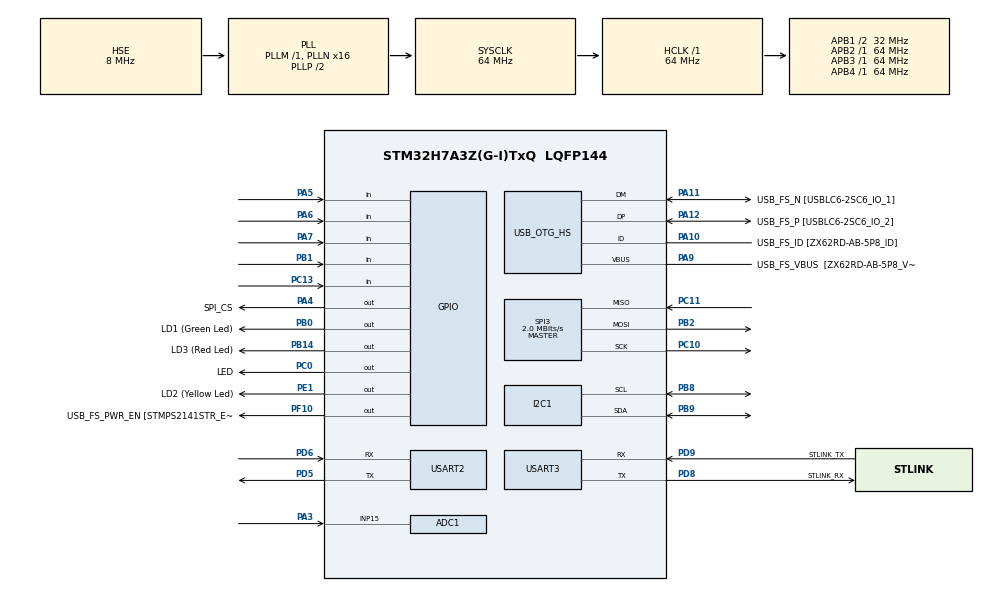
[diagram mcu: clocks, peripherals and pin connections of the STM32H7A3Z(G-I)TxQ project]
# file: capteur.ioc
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ADC1.Channel-4\#ChannelRegularConversion=ADC_CHANNEL_15
ADC1.NbrOfConversionFlag=1
ADC1.OffsetNumber-4\#ChannelRegularConversion=ADC_OFFSET_NONE
ADC1.OffsetSignedSaturation-4\#ChannelRegularConversion=DISABLE
ADC1.Rank-4\#ChannelRegularConversion=1
ADC1.SamplingTime-4\#ChannelRegularConversion=ADC_SAMPLETIME_1CYCLE_5
ADC1.master=1
I2C1.Timing=0x00707CBB
Mcu.Family=STM32H7
Mcu.Name=STM32H7A3Z(G-I)TxQ
Mcu.Package=LQFP144
NVIC.ADC_IRQn=true\:0\:0\:false\:false\:true\:true\:true\:true
NVIC.PriorityGroup=NVIC_PRIORITYGROUP_4
NVIC.USART2_IRQn=true\:0\:0\:false\:false\:true\:true\:true\:true
NVIC.USART3_IRQn=true\:0\:0\:false\:false\:true\:true\:true\:true
PA10.GPIO_Label=USB_FS_ID [ZX62RD-AB-5P8_ID]
PA10.Mode=OTG/Dual-Role-Device-FS
PA10.Signal=USB_OTG_HS_ID
PA11.GPIO_Label=USB_FS_N [USBLC6-2SC6_IO_1]
PA11.Mode=OTG/Dual-Role-Device-FS
PA11.Signal=USB_OTG_HS_DM
PA12.GPIO_Label=USB_FS_P [USBLC6-2SC6_IO_2]
PA12.Mode=OTG/Dual-Role-Device-FS
PA12.Signal=USB_OTG_HS_DP
PA3.Mode=IN15-Single-Ended
PA3.Signal=ADC1_INP15
PA4.GPIO_Label=SPI_CS
PA4.PinState=GPIO_PIN_SET
PA4.Signal=GPIO_Output
PA5.Signal=GPIO_Input
PA6.Signal=GPIO_Input
PA7.Signal=GPIO_Input
PA9.GPIO_Label=USB_FS_VBUS  [ZX62RD-AB-5P8_VBUS]
PA9.Mode=Activate_VBUS_FS
PA9.Signal=USB_OTG_HS_VBUS
PB0.GPIO_Label=LD1 (Green Led)
PB0.Signal=GPIO_Output
PB1.Signal=GPIO_Input
PB14.GPIO_Label=LD3 (Red Led)
PB14.Signal=GPIO_Output
PB2.Mode=Full_Duplex_Master
PB2.Signal=SPI3_MOSI
PB3.Signal=DEBUG_JTDO-SWO
PB8.Mode=I2C
PB8.Signal=I2C1_SCL
PB9.Mode=I2C
PB9.Signal=I2C1_SDA
PC0.GPIO_Label=LED
PC0.Signal=GPIO_Output
PC10.Mode=Full_Duplex_Master
PC10.Signal=SPI3_SCK
PC11.Mode=Full_Duplex_Master
PC11.Signal=SPI3_MISO
PC13.Signal=GPIO_Input
PC14-OSC32_IN.GPIO_Label=OSC32_IN
PC14-OSC32_IN.Mode=LSE-External-Oscillator
PC14-OSC32_IN.Signal=RCC_OSC32_IN
PC15-OSC32_OUT.GPIO_Label=OSC32_OUT
PC15-OSC32_OUT.Mode=LSE-External-Oscillator
PC15-OSC32_OUT.Signal=RCC_OSC32_OUT
PD5.Mode=Asynchronous
PD5.Signal=USART2_TX
PD6.Mode=Asynchronous
PD6.Signal=USART2_RX
PD8.GPIO_Label=STLINK_RX
PD8.Mode=Asynchronous
PD8.Signal=USART3_TX
PD9.GPIO_Label=STLINK_TX
PD9.Mode=Asynchronous
PD9.Signal=USART3_RX
PE1.GPIO_Label=LD2 (Yellow Led)
PE1.Signal=GPIO_Output
PF10.GPIO_Label=USB_FS_PWR_EN [STMPS2141STR_EN]
PF10.Signal=GPIO_Output
PH0-OSC_IN.GPIO_Label=PH0-MCU
PH0-OSC_IN.Mode=HSE-External-Clock-Source
PH0-OSC_IN.Signal=RCC_OSC_IN
PH1-OSC_OUT.GPIO_Label=PH1-MCU
PH1-OSC_OUT.Signal=RCC_OSC_OUT
ProjectManager.HeapSize=0x200
ProjectManager.StackSize=0x400
ProjectManager.TargetToolchain=STM32CubeIDE
RCC.ADCFreq_Value=42666666.666666664
RCC.APB1Freq_Value=32000000
RCC.APB2Freq_Value=64000000
RCC.APB3Freq_Value=64000000
RCC.APB4Freq_Value=64000000
RCC.CDPPRE1=RCC_APB1_DIV2
RCC.CortexFreq_Value=64000000
RCC.DIVM1=1
RCC.DIVM2=1
RCC.DIVM3=1
RCC.DIVN1=16
RCC.DIVN2=16
RCC.DIVN3=24
RCC.DIVP2=3
RCC.DIVQ1=4
RCC.HCLKFreq_Value=64000000
RCC.HSE_VALUE=8000000
RCC.PLL2FRACN=0
RCC.PLLFRACN=0
RCC.PLLSourceVirtual=RCC_PLLSOURCE_HSE
RCC.SYSCLKFreq_VALUE=64000000
RCC.SYSCLKSource=RCC_SYSCLKSOURCE_PLLCLK
RCC.SupplySource=PWR_DIRECT_SMPS_SUPPLY
RCC.USBCLockSelection=RCC_USBCLKSOURCE_HSI48
RCC.USBFreq_Value=48000000
SPI3.BaudRatePrescaler=SPI_BAUDRATEPRESCALER_16
SPI3.CalculateBaudRate=2.0 MBits/s
SPI3.DataSize=SPI_DATASIZE_8BIT
SPI3.Direction=SPI_DIRECTION_2LINES
SPI3.Mode=SPI_MODE_MASTER
SPI3.VirtualType=VM_MASTER
USART2.VirtualMode-Asynchronous=VM_ASYNC
USART3.VirtualMode-Asynchronous=VM_ASYNC
VP_MEMORYMAP_VS_MEMORYMAP.Mode=CurAppReg
board=NUCLEO-H7A3ZI-Q

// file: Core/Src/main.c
/* USER CODE BEGIN Header */
/**
  ******************************************************************************
  * @file           : main.c
  * @brief          : Main program body
  ******************************************************************************
  * @attention
  *
  * Copyright (c) 2025 STMicroelectronics.
  * All rights reserved.
  *
  * This software is licensed under terms that can be found in the LICENSE file
  * in the root directory of this software component.
  * If no LICENSE file comes with this software, it is provided AS-IS.
  *
  ******************************************************************************
  */
/* USER CODE END Header */
#include "main.h"

/* USER CODE BEGIN Includes */
#include <stdio.h>
#include "string.h"
#include "stm32h7xx_hal_i2c.h"
#include <stdbool.h>
#include <CAN_SPI.h>
#include "MCP2515.h"

#include "stm32h7xx_hal.h"

/* USER CODE END Includes */

ADC_HandleTypeDef hadc1;

I2C_HandleTypeDef hi2c1;

SPI_HandleTypeDef hspi3;

UART_HandleTypeDef huart2;
UART_HandleTypeDef huart3;

/* USER CODE BEGIN PV */
#define VALEUR_SECHE 60000
#define VALEUR_HUMIDE 20000
char test_msg[] = "Test UART\r\n";
char buffer[64];
char b[32];
uint8_t rxMessage;

uCAN_MSG txMessage;
/* USER CODE END PV */

void SystemClock_Config(void);
static void MX_GPIO_Init(void);
static void MX_USB_OTG_HS_USB_Init(void);
static void MX_USART3_UART_Init(void);
static void MX_USART2_UART_Init(void);
static void MX_ADC1_Init(void);
static void MX_SPI3_Init(void);
static void MX_I2C1_Init(void);

/* USER CODE BEGIN 0 */
// Envoyer seulement quand les valeurs changent
void sendSensorData(float value1, float value2, int value3, int value4) {
    static float lastValue1 = 0, lastValue2 = 0;
    static int lastValue3 = 0, lastValue4 = 0;

    // Vérifie si la différence de temperature ou humidité > 1
    if(fabs(value1 - lastValue1) > 1.0f ||
       fabs(value2 - lastValue2) > 1.0f ||
       value3 != lastValue3 ||
       value4 != lastValue4) {

        int len = snprintf(buffer, sizeof(buffer), "%.2f,%.2f,%d,%d\r\n", value1, value2, value3, value4);
        HAL_UART_Transmit(&huart2, (uint8_t*)buffer, len, HAL_MAX_DELAY);

        lastValue1 = value1;
        lastValue2 = value2;
        lastValue3 = value3;
        lastValue4 = value4;
    }
}

uint8_t lireHumiditeSol(void) {
  // Lire la valeur brute de l'ADC
  HAL_ADC_Start(&hadc1);
  HAL_ADC_PollForConversion(&hadc1, HAL_MAX_DELAY);
  uint32_t valeur_brute = HAL_ADC_GetValue(&hadc1);
  HAL_ADC_Stop(&hadc1);

  // Calibration et conversion en pourcentage d'humidité
  uint8_t humidite_pourcentage;
  if (valeur_brute >= VALEUR_SECHE) {
    humidite_pourcentage = 0;  // 0% d'humidité (très sec)
  } else if (valeur_brute <= VALEUR_HUMIDE) {
    humidite_pourcentage = 100;  // 100% d'humidité (très humide)
  } else {
    // Conversion linéaire entre les deux extrêmes
    humidite_pourcentage = 100 - ((valeur_brute - VALEUR_HUMIDE) * 100) / (VALEUR_SECHE - VALEUR_HUMIDE);
  }

  return humidite_pourcentage;

}
// Rediriger printf vers l'UART (ici huart3)
int _write(int file, char *ptr, int len)
{

  HAL_UART_Transmit(&huart3, (uint8_t*)ptr, len, HAL_MAX_DELAY);
  return len;
}

typedef struct {
    float temperature;
    float humidity;
    bool success;
} AM2320_Data;

AM2320_Data read_AM2320(void)
{
    AM2320_Data data = {0.0f, 0.0f, false};
    uint8_t wake = 0x00;
    uint8_t cmd[3] = {0x03, 0x00, 0x04};
    uint8_t response[8];

    // Réveil du capteur (écriture 0 byte pour réveil, délai nécessaire)
    HAL_I2C_Master_Transmit(&hi2c1, 0x5C << 1, &wake, 0, 5);
    HAL_Delay(2);

    // Envoi de la commande de lecture (fonction code 0x03, adresse 0x00, lire 4 registres)
    if (HAL_I2C_Master_Transmit(&hi2c1, 0x5C << 1, cmd, 3, 100) != HAL_OK)
        return data;

    HAL_Delay(2);

    // Lecture de la réponse : 8 octets attendus
    if (HAL_I2C_Master_Receive(&hi2c1, 0x5C << 1, response, 8, 100) != HAL_OK)
        return data;

    // Vérification simple (peut être renforcée avec CRC si nécessaire)
    if (response[0] != 0x03 || response[1] != 0x04)
        return data;

    // Extraction des données
    uint16_t hum = (response[2] << 8) | response[3];
    uint16_t temp_raw = (response[4] << 8) | response[5];

    data.humidity = hum / 10.0f;
    data.temperature = (temp_raw & 0x8000) ?
                       -((temp_raw & 0x7FFF) / 10.0f) :
                       temp_raw / 10.0f;

    data.success = true;
    return data;
}

/* USER CODE END 0 */

int main(void)
{

  /* MCU Configuration--------------------------------------------------------*/

  /* Reset of all peripherals, Initializes the Flash interface and the Systick. */
  HAL_Init();

  /* Configure the system clock */
  SystemClock_Config();

  /* Initialize all configured peripherals */
  MX_GPIO_Init();
  MX_USB_OTG_HS_USB_Init();
  MX_USART3_UART_Init();
  MX_USART2_UART_Init();
  MX_ADC1_Init();
  MX_SPI3_Init();
  MX_I2C1_Init();
  /* USER CODE BEGIN 2 */
  HAL_GPIO_WritePin(LED_GPIO_Port, LED_Pin, GPIO_PIN_RESET);
  printf("Test de communication avec MCP2515...\r\n");

  // Lire une valeur du MCP2515
  uint8_t test_value = MCP2515_ReadByte(MCP2515_CANSTAT);
  printf("Valeur lue de CANSTAT: 0x%02X\r\n", test_value);

  // Écrire puis lire pour vérifier si la communication fonctionne
  printf("Écriture de test dans un registre...\r\n");
  MCP2515_WriteByte(0x03, 0x55);  // Écrire 0x55 dans le registre à l'adresse 0x03
  test_value = MCP2515_ReadByte(0x03);  // Lire à nouveau ce registre
  printf("Valeur lue après écriture: 0x%02X\r\n", test_value);

  // Maintenant essayer d'initialiser le CAN
  printf("Tentative d'initialisation CAN...\r\n");
  int ret;
  ret = CANSPI_Initialize();
  if(ret < 0){

	  printf("non CAN %d\r\n", ret);
	  while (1){};
  }
	  else{
		  printf(" CAN\r\n");
	  }

  uint8_t toggle = 0;
  /* USER CODE END 2 */

  /* Infinite loop */
  while (1)
  {

    /* USER CODE BEGIN 3 */

	uint32_t valeur_brute = HAL_ADC_GetValue(&hadc1);
	printf("valeur brute de humidite de sol %lu\r\n", valeur_brute);
	uint8_t humidite = lireHumiditeSol();
	printf("humidite de sol %d\r\n", humidite);
	  HAL_Delay(5000);
	  bool est_obscur = (HAL_GPIO_ReadPin(GPIOA, GPIO_PIN_6) == GPIO_PIN_SET);

	  if (est_obscur) {
	      printf("obscur\r\n");
	  } else {
	      printf("lumiere\r\n");
	  }

	  HAL_Delay(5000);
	  AM2320_Data result = read_AM2320();
	  if (result.success) {
	      printf("Temp: %.2f°C, Humidité: %.2f%%\r\n", result.temperature, result.humidity);
	  } else {
	      printf("Erreur de lecture du capteur AM2320\r\n");
	  }

	  int temp_arrondi = round(result.temperature);
	  int temp_humidity = round(result.humidity);
	  sendSensorData(result.temperature, result.humidity,humidite,est_obscur);

	  int16_t temp10 = (int16_t)(result.temperature * 10);
	  int16_t hum10  = (int16_t)(result.humidity * 10);

	  txMessage.frame.idType = 0;   // ID standard (11 bits)
	  txMessage.frame.id = 0x36;     // ID du message CAN (ne change pas)
	  txMessage.frame.dlc = 6;       // Longueur des données (6 octets ici)

	  txMessage.frame.data0 = (uint8_t)(temp10 >> 8);  // Partie haute de la température
	  txMessage.frame.data1 = (uint8_t)(temp10 & 0xFF); // Partie basse de la température
	  txMessage.frame.data2 = (uint8_t)(hum10 >> 8);   // Partie haute de l'humidité
	  txMessage.frame.data3 = (uint8_t)(hum10 & 0xFF);  // Partie basse de l'humidité
	  txMessage.frame.data4 = humidite;                 // Humidité du sol (1 octet)
	  txMessage.frame.data5 = est_obscur ? 1 : 0;       // État du capteur de lumière (1 ou 0)

	  // Transmission CAN
	  if (CANSPI_Transmit(&txMessage)) {
	      printf("Message CAN transmis\n");
	  } else {
	      printf("Erreur de transmission\n");
	  }
	  HAL_Delay(1000);
  }
  /* USER CODE END 3 */
}

void SystemClock_Config(void)
{
  RCC_OscInitTypeDef RCC_OscInitStruct = {0};
  RCC_ClkInitTypeDef RCC_ClkInitStruct = {0};

  /*AXI clock gating */
  RCC->CKGAENR = 0xFFFFFFFF;

  /** Supply configuration update enable
  */
  HAL_PWREx_ConfigSupply(PWR_DIRECT_SMPS_SUPPLY);

  /** Configure the main internal regulator output voltage
  */
  __HAL_PWR_VOLTAGESCALING_CONFIG(PWR_REGULATOR_VOLTAGE_SCALE3);

  while(!__HAL_PWR_GET_FLAG(PWR_FLAG_VOSRDY)) {}

  /** Initializes the RCC Oscillators according to the specified parameters
  * in the RCC_OscInitTypeDef structure.
  */
  RCC_OscInitStruct.OscillatorType = RCC_OSCILLATORTYPE_HSI48|RCC_OSCILLATORTYPE_HSE;
  RCC_OscInitStruct.HSEState = RCC_HSE_BYPASS;
  RCC_OscInitStruct.HSI48State = RCC_HSI48_ON;
  RCC_OscInitStruct.PLL.PLLState = RCC_PLL_ON;
  RCC_OscInitStruct.PLL.PLLSource = RCC_PLLSOURCE_HSE;
  RCC_OscInitStruct.PLL.PLLM = 1;
  RCC_OscInitStruct.PLL.PLLN = 16;
  RCC_OscInitStruct.PLL.PLLP = 2;
  RCC_OscInitStruct.PLL.PLLQ = 4;
  RCC_OscInitStruct.PLL.PLLR = 2;
  RCC_OscInitStruct.PLL.PLLRGE = RCC_PLL1VCIRANGE_3;
  RCC_OscInitStruct.PLL.PLLVCOSEL = RCC_PLL1VCOWIDE;
  RCC_OscInitStruct.PLL.PLLFRACN = 0;
  if (HAL_RCC_OscConfig(&RCC_OscInitStruct) != HAL_OK)
  {
    Error_Handler();
  }

  /** Initializes the CPU, AHB and APB buses clocks
  */
  RCC_ClkInitStruct.ClockType = RCC_CLOCKTYPE_HCLK|RCC_CLOCKTYPE_SYSCLK
                              |RCC_CLOCKTYPE_PCLK1|RCC_CLOCKTYPE_PCLK2
                              |RCC_CLOCKTYPE_D3PCLK1|RCC_CLOCKTYPE_D1PCLK1;
  RCC_ClkInitStruct.SYSCLKSource = RCC_SYSCLKSOURCE_PLLCLK;
  RCC_ClkInitStruct.SYSCLKDivider = RCC_SYSCLK_DIV1;
  RCC_ClkInitStruct.AHBCLKDivider = RCC_HCLK_DIV1;
  RCC_ClkInitStruct.APB3CLKDivider = RCC_APB3_DIV1;
  RCC_ClkInitStruct.APB1CLKDivider = RCC_APB1_DIV2;
  RCC_ClkInitStruct.APB2CLKDivider = RCC_APB2_DIV1;
  RCC_ClkInitStruct.APB4CLKDivider = RCC_APB4_DIV1;

  if (HAL_RCC_ClockConfig(&RCC_ClkInitStruct, FLASH_LATENCY_2) != HAL_OK)
  {
    Error_Handler();
  }
}

static void MX_ADC1_Init(void)
{

  ADC_MultiModeTypeDef multimode = {0};
  ADC_ChannelConfTypeDef sConfig = {0};

  /** Common config
  */
  hadc1.Instance = ADC1;
  hadc1.Init.ClockPrescaler = ADC_CLOCK_ASYNC_DIV1;
  hadc1.Init.Resolution = ADC_RESOLUTION_16B;
  hadc1.Init.ScanConvMode = ADC_SCAN_DISABLE;
  hadc1.Init.EOCSelection = ADC_EOC_SINGLE_CONV;
  hadc1.Init.LowPowerAutoWait = DISABLE;
  hadc1.Init.ContinuousConvMode = DISABLE;
  hadc1.Init.NbrOfConversion = 1;
  hadc1.Init.DiscontinuousConvMode = DISABLE;
  hadc1.Init.ExternalTrigConv = ADC_SOFTWARE_START;
  hadc1.Init.ExternalTrigConvEdge = ADC_EXTERNALTRIGCONVEDGE_NONE;
  hadc1.Init.ConversionDataManagement = ADC_CONVERSIONDATA_DR;
  hadc1.Init.Overrun = ADC_OVR_DATA_PRESERVED;
  hadc1.Init.LeftBitShift = ADC_LEFTBITSHIFT_NONE;
  hadc1.Init.OversamplingMode = DISABLE;
  if (HAL_ADC_Init(&hadc1) != HAL_OK)
  {
    Error_Handler();
  }

  /** Configure the ADC multi-mode
  */
  multimode.Mode = ADC_MODE_INDEPENDENT;
  if (HAL_ADCEx_MultiModeConfigChannel(&hadc1, &multimode) != HAL_OK)
  {
    Error_Handler();
  }

  /** Configure Regular Channel
  */
  sConfig.Channel = ADC_CHANNEL_15;
  sConfig.Rank = ADC_REGULAR_RANK_1;
  sConfig.SamplingTime = ADC_SAMPLETIME_1CYCLE_5;
  sConfig.SingleDiff = ADC_SINGLE_ENDED;
  sConfig.OffsetNumber = ADC_OFFSET_NONE;
  sConfig.Offset = 0;
  sConfig.OffsetSignedSaturation = DISABLE;
  if (HAL_ADC_ConfigChannel(&hadc1, &sConfig) != HAL_OK)
  {
    Error_Handler();
  }

}

static void MX_I2C1_Init(void)
{

  hi2c1.Instance = I2C1;
  hi2c1.Init.Timing = 0x00707CBB;
  hi2c1.Init.OwnAddress1 = 0;
  hi2c1.Init.AddressingMode = I2C_ADDRESSINGMODE_7BIT;
  hi2c1.Init.DualAddressMode = I2C_DUALADDRESS_DISABLE;
  hi2c1.Init.OwnAddress2 = 0;
  hi2c1.Init.OwnAddress2Masks = I2C_OA2_NOMASK;
  hi2c1.Init.GeneralCallMode = I2C_GENERALCALL_DISABLE;
  hi2c1.Init.NoStretchMode = I2C_NOSTRETCH_DISABLE;
  if (HAL_I2C_Init(&hi2c1) != HAL_OK)
  {
    Error_Handler();
  }

  /** Configure Analogue filter
  */
  if (HAL_I2CEx_ConfigAnalogFilter(&hi2c1, I2C_ANALOGFILTER_ENABLE) != HAL_OK)
  {
    Error_Handler();
  }

  /** Configure Digital filter
  */
  if (HAL_I2CEx_ConfigDigitalFilter(&hi2c1, 0) != HAL_OK)
  {
    Error_Handler();
  }

}

static void MX_SPI3_Init(void)
{

  /* SPI3 parameter configuration*/
  hspi3.Instance = SPI3;
  hspi3.Init.Mode = SPI_MODE_MASTER;
  hspi3.Init.Direction = SPI_DIRECTION_2LINES;
  hspi3.Init.DataSize = SPI_DATASIZE_8BIT;
  hspi3.Init.CLKPolarity = SPI_POLARITY_LOW;
  hspi3.Init.CLKPhase = SPI_PHASE_1EDGE;
  hspi3.Init.NSS = SPI_NSS_SOFT;
  hspi3.Init.BaudRatePrescaler = SPI_BAUDRATEPRESCALER_16;
  hspi3.Init.FirstBit = SPI_FIRSTBIT_MSB;
  hspi3.Init.TIMode = SPI_TIMODE_DISABLE;
  hspi3.Init.CRCCalculation = SPI_CRCCALCULATION_DISABLE;
  hspi3.Init.CRCPolynomial = 0x0;
  hspi3.Init.NSSPMode = SPI_NSS_PULSE_ENABLE;
  hspi3.Init.NSSPolarity = SPI_NSS_POLARITY_LOW;
  hspi3.Init.FifoThreshold = SPI_FIFO_THRESHOLD_01DATA;
  hspi3.Init.TxCRCInitializationPattern = SPI_CRC_INITIALIZATION_ALL_ZERO_PATTERN;
  hspi3.Init.RxCRCInitializationPattern = SPI_CRC_INITIALIZATION_ALL_ZERO_PATTERN;
  hspi3.Init.MasterSSIdleness = SPI_MASTER_SS_IDLENESS_00CYCLE;
  hspi3.Init.MasterInterDataIdleness = SPI_MASTER_INTERDATA_IDLENESS_00CYCLE;
  hspi3.Init.MasterReceiverAutoSusp = SPI_MASTER_RX_AUTOSUSP_DISABLE;
  hspi3.Init.MasterKeepIOState = SPI_MASTER_KEEP_IO_STATE_DISABLE;
  hspi3.Init.IOSwap = SPI_IO_SWAP_DISABLE;
  if (HAL_SPI_Init(&hspi3) != HAL_OK)
  {
    Error_Handler();
  }

}

static void MX_USART2_UART_Init(void)
{

  huart2.Instance = USART2;
  huart2.Init.BaudRate = 115200;
  huart2.Init.WordLength = UART_WORDLENGTH_8B;
  huart2.Init.StopBits = UART_STOPBITS_1;
  huart2.Init.Parity = UART_PARITY_NONE;
  huart2.Init.Mode = UART_MODE_TX_RX;
  huart2.Init.HwFlowCtl = UART_HWCONTROL_NONE;
  huart2.Init.OverSampling = UART_OVERSAMPLING_16;
  huart2.Init.OneBitSampling = UART_ONE_BIT_SAMPLE_DISABLE;
  huart2.Init.ClockPrescaler = UART_PRESCALER_DIV1;
  huart2.AdvancedInit.AdvFeatureInit = UART_ADVFEATURE_NO_INIT;
  if (HAL_UART_Init(&huart2) != HAL_OK)
  {
    Error_Handler();
  }
  if (HAL_UARTEx_SetTxFifoThreshold(&huart2, UART_TXFIFO_THRESHOLD_1_8) != HAL_OK)
  {
    Error_Handler();
  }
  if (HAL_UARTEx_SetRxFifoThreshold(&huart2, UART_RXFIFO_THRESHOLD_1_8) != HAL_OK)
  {
    Error_Handler();
  }
  if (HAL_UARTEx_DisableFifoMode(&huart2) != HAL_OK)
  {
    Error_Handler();
  }

}

static void MX_USART3_UART_Init(void)
{

  huart3.Instance = USART3;
  huart3.Init.BaudRate = 115200;
  huart3.Init.WordLength = UART_WORDLENGTH_8B;
  huart3.Init.StopBits = UART_STOPBITS_1;
  huart3.Init.Parity = UART_PARITY_NONE;
  huart3.Init.Mode = UART_MODE_TX_RX;
  huart3.Init.HwFlowCtl = UART_HWCONTROL_NONE;
  huart3.Init.OverSampling = UART_OVERSAMPLING_16;
  huart3.Init.OneBitSampling = UART_ONE_BIT_SAMPLE_DISABLE;
  huart3.Init.ClockPrescaler = UART_PRESCALER_DIV1;
  huart3.AdvancedInit.AdvFeatureInit = UART_ADVFEATURE_NO_INIT;
  if (HAL_UART_Init(&huart3) != HAL_OK)
  {
    Error_Handler();
  }
  if (HAL_UARTEx_SetTxFifoThreshold(&huart3, UART_TXFIFO_THRESHOLD_1_8) != HAL_OK)
  {
    Error_Handler();
  }
  if (HAL_UARTEx_SetRxFifoThreshold(&huart3, UART_RXFIFO_THRESHOLD_1_8) != HAL_OK)
  {
    Error_Handler();
  }
  if (HAL_UARTEx_DisableFifoMode(&huart3) != HAL_OK)
  {
    Error_Handler();
  }

}

static void MX_USB_OTG_HS_USB_Init(void)
{

}

static void MX_GPIO_Init(void)
{
  GPIO_InitTypeDef GPIO_InitStruct = {0};

  /* GPIO Ports Clock Enable */
  __HAL_RCC_GPIOC_CLK_ENABLE();
  __HAL_RCC_GPIOF_CLK_ENABLE();
  __HAL_RCC_GPIOH_CLK_ENABLE();
  __HAL_RCC_GPIOA_CLK_ENABLE();
  __HAL_RCC_GPIOB_CLK_ENABLE();
  __HAL_RCC_GPIOD_CLK_ENABLE();
  __HAL_RCC_GPIOE_CLK_ENABLE();

  /*Configure GPIO pin Output Level */
  HAL_GPIO_WritePin(USB_FS_PWR_EN_GPIO_Port, USB_FS_PWR_EN_Pin, GPIO_PIN_RESET);

  /*Configure GPIO pin Output Level */
  HAL_GPIO_WritePin(LED_GPIO_Port, LED_Pin, GPIO_PIN_RESET);

  /*Configure GPIO pin Output Level */
  HAL_GPIO_WritePin(SPI_CS_GPIO_Port, SPI_CS_Pin, GPIO_PIN_SET);

  /*Configure GPIO pin Output Level */
  HAL_GPIO_WritePin(GPIOB, LD1_Pin|LD3_Pin, GPIO_PIN_RESET);

  /*Configure GPIO pin Output Level */
  HAL_GPIO_WritePin(LD2_GPIO_Port, LD2_Pin, GPIO_PIN_RESET);

  /*Configure GPIO pin : PC13 */
  GPIO_InitStruct.Pin = GPIO_PIN_13;
  GPIO_InitStruct.Mode = GPIO_MODE_INPUT;
  GPIO_InitStruct.Pull = GPIO_NOPULL;
  HAL_GPIO_Init(GPIOC, &GPIO_InitStruct);

  /*Configure GPIO pin : USB_FS_PWR_EN_Pin */
  GPIO_InitStruct.Pin = USB_FS_PWR_EN_Pin;
  GPIO_InitStruct.Mode = GPIO_MODE_OUTPUT_PP;
  GPIO_InitStruct.Pull = GPIO_NOPULL;
  GPIO_InitStruct.Speed = GPIO_SPEED_FREQ_LOW;
  HAL_GPIO_Init(USB_FS_PWR_EN_GPIO_Port, &GPIO_InitStruct);

  /*Configure GPIO pin : LED_Pin */
  GPIO_InitStruct.Pin = LED_Pin;
  GPIO_InitStruct.Mode = GPIO_MODE_OUTPUT_PP;
  GPIO_InitStruct.Pull = GPIO_NOPULL;
  GPIO_InitStruct.Speed = GPIO_SPEED_FREQ_LOW;
  HAL_GPIO_Init(LED_GPIO_Port, &GPIO_InitStruct);

  /*Configure GPIO pin : SPI_CS_Pin */
  GPIO_InitStruct.Pin = SPI_CS_Pin;
  GPIO_InitStruct.Mode = GPIO_MODE_OUTPUT_PP;
  GPIO_InitStruct.Pull = GPIO_NOPULL;
  GPIO_InitStruct.Speed = GPIO_SPEED_FREQ_LOW;
  HAL_GPIO_Init(SPI_CS_GPIO_Port, &GPIO_InitStruct);

  /*Configure GPIO pins : PA5 PA6 PA7 USB_FS_VBUS_Pin */
  GPIO_InitStruct.Pin = GPIO_PIN_5|GPIO_PIN_6|GPIO_PIN_7|USB_FS_VBUS_Pin;
  GPIO_InitStruct.Mode = GPIO_MODE_INPUT;
  GPIO_InitStruct.Pull = GPIO_NOPULL;
  HAL_GPIO_Init(GPIOA, &GPIO_InitStruct);

  /*Configure GPIO pins : LD1_Pin LD3_Pin */
  GPIO_InitStruct.Pin = LD1_Pin|LD3_Pin;
  GPIO_InitStruct.Mode = GPIO_MODE_OUTPUT_PP;
  GPIO_InitStruct.Pull = GPIO_NOPULL;
  GPIO_InitStruct.Speed = GPIO_SPEED_FREQ_LOW;
  HAL_GPIO_Init(GPIOB, &GPIO_InitStruct);

  /*Configure GPIO pin : PB1 */
  GPIO_InitStruct.Pin = GPIO_PIN_1;
  GPIO_InitStruct.Mode = GPIO_MODE_INPUT;
  GPIO_InitStruct.Pull = GPIO_NOPULL;
  HAL_GPIO_Init(GPIOB, &GPIO_InitStruct);

  /*Configure GPIO pin : USB_FS_ID_Pin */
  GPIO_InitStruct.Pin = USB_FS_ID_Pin;
  GPIO_InitStruct.Mode = GPIO_MODE_AF_PP;
  GPIO_InitStruct.Pull = GPIO_NOPULL;
  GPIO_InitStruct.Speed = GPIO_SPEED_FREQ_LOW;
  GPIO_InitStruct.Alternate = GPIO_AF10_OTG1_HS;
  HAL_GPIO_Init(USB_FS_ID_GPIO_Port, &GPIO_InitStruct);

  /*Configure GPIO pins : USB_FS_N_Pin USB_FS_P_Pin */
  GPIO_InitStruct.Pin = USB_FS_N_Pin|USB_FS_P_Pin;
  GPIO_InitStruct.Mode = GPIO_MODE_AF_PP;
  GPIO_InitStruct.Pull = GPIO_NOPULL;
  GPIO_InitStruct.Speed = GPIO_SPEED_FREQ_LOW;
  HAL_GPIO_Init(GPIOA, &GPIO_InitStruct);

  /*Configure GPIO pin : LD2_Pin */
  GPIO_InitStruct.Pin = LD2_Pin;
  GPIO_InitStruct.Mode = GPIO_MODE_OUTPUT_PP;
  GPIO_InitStruct.Pull = GPIO_NOPULL;
  GPIO_InitStruct.Speed = GPIO_SPEED_FREQ_LOW;
  HAL_GPIO_Init(LD2_GPIO_Port, &GPIO_InitStruct);

}

void Error_Handler(void)
{
  __disable_irq();
  while (1)
  {
  }
}
